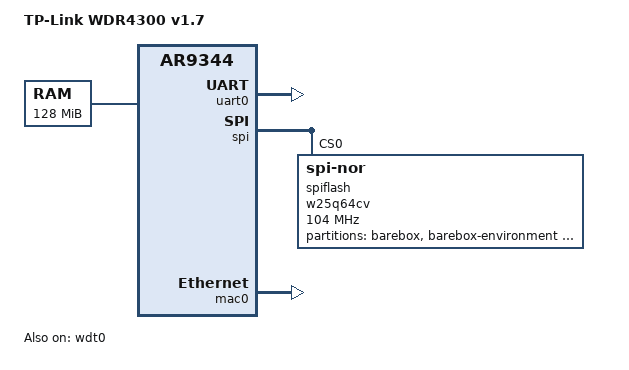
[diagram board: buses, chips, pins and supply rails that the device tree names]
/dts-v1/;

#include <dt-bindings/gpio/gpio.h>
#include <dt-bindings/input/input.h>

#include "ar9344.dtsi"

/ {
	model = "TP-Link WDR4300 v1.7";
	compatible = "tplink,tl-wdr4300", "tplink,tl-wdr4300-v1.7";
	barebox,disable-deep-probe;

	aliases {
		serial0 = &uart0;
		spiflash = &spiflash;
	};

	memory@0 {
		device_type = "memory";
		reg = <0x0 0x8000000>;
	};

	chosen {
		stdout-path = &uart0;

		environment {
			compatible = "barebox,environment";
			device-path = &env_nor;
		};

		art@0 {
			compatible = "qca,art-ar9344", "qca,art";
			device-path = &spiflash_art;
			barebox,provide-mac-address = <&mac0>;
		};
	};
};

&ref {
	clock-frequency = <40000000>;
};

&uart0 {
	status = "okay";
	clock-frequency = <40000000>;
};

&wdt0 {
	status = "okay";
};

&spi {
	num-chipselects = <1>;
	status = "okay";

	/* Winbond W25Q64CV SPI flash */
	spiflash: w25q64cv@0 {
		#address-cells = <1>;
		#size-cells = <1>;
		compatible = "jedec,spi-nor", "winbond,w25q64cv";
		spi-max-frequency = <104000000>;
		reg = <0>;

		partition@0 {
			label = "barebox";
			reg = <0 0x80000>;
		};

		env_nor: partition@80000 {
			label = "barebox-environment";
			reg = <0x80000 0x10000>;
		};

		spiflash_art: partition@7f0000 {
			label = "art";
			reg = <0x7f0000 0x10000>;
		};
	};
};

&mac0 {
	status = "okay";
};
